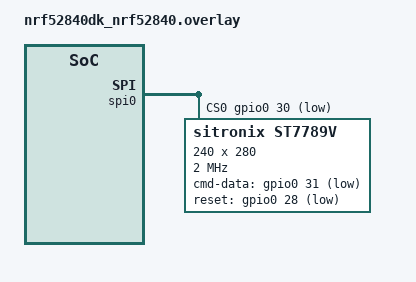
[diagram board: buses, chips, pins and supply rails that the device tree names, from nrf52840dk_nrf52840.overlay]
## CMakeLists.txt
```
# SPDX-License-Identifier: Apache-2.0

cmake_minimum_required(VERSION 3.20.0)

find_package(Zephyr REQUIRED HINTS $ENV{ZEPHYR_BASE})
project(lvgl_temp)

file(GLOB app_sources src/*.c src/ui/*.c src/ui/components/*.c src/ui/fonts/*.c src/ui/screens/*.c)
target_sources(app PRIVATE ${app_sources})
include_directories(src/ui)
```

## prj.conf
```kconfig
CONFIG_LV_Z_MEM_POOL_NUMBER_BLOCKS=8
# CONFIG_LV_Z_SHELL=y
CONFIG_MAIN_STACK_SIZE=2048

CONFIG_DISPLAY=y
CONFIG_DISPLAY_LOG_LEVEL_ERR=y

CONFIG_LOG=y
CONFIG_SHELL=y

CONFIG_LVGL=y
CONFIG_LV_MEM_CUSTOM=y
CONFIG_LV_USE_LOG=y
CONFIG_LV_USE_LABEL=y
CONFIG_LV_USE_BTN=y
CONFIG_LV_USE_IMG=y
CONFIG_LV_USE_MONKEY=y
CONFIG_LV_FONT_MONTSERRAT_14=y
```

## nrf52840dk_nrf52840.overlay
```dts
// To get started, press Ctrl+Space to bring up the completion menu and view the available nodes.

// You can also use the buttons in the sidebar to perform actions on nodes.
// Actions currently available include:

// * Enabling / disabling the node
// * Adding the bus to a bus
// * Removing the node
// * Connecting ADC channels

// For more help, browse the DeviceTree documentation at https://docs.zephyrproject.org/latest/guides/dts/index.html
// You can also visit the nRF DeviceTree extension documentation at https://nrfconnect.github.io/vscode-nrf-connect/devicetree/nrfdevicetree.html

&spi0 {
	st7789v@0 {
		compatible = "sitronix,st7789v";
		reg = <0x0>;
		cmd-data-gpios = <&gpio0 31 GPIO_ACTIVE_LOW>;
		// supply-gpios = <&gpio0 29 0>;
		label = "ST7789V";
		status = "okay";
		spi-max-frequency = <2000000>;
		width = <240>;
		height = <280>;
		x-offset = <0>;
		y-offset = <20>;
		vcom = <0x32>;
		gctrl = <0x35>;
		vrhs = <0x15>;
		mdac = <0x00>;
		gamma = <0x01>;
		colmod = <0x55>;
		lcm = <0x2c>;
		porch-param = [0c 0c 00 33 33];
		cmd2en-param = [5a 69 02 01];
		pwctrl1-param = [a4 a1];
		pvgam-param = [d0 08 0e 09 09 05 31 33 48 17 14 15 31 34];
		nvgam-param = [d0 08 0e 09 09 15 31 33 48 17 14 15 31 34];
		ram-param = [00 f8];
		rgb-param = [cd 08 14];
		vdvs = <0x20>;
		reset-gpios = <&gpio0 28 GPIO_ACTIVE_LOW>;

	};

	status = "okay";
	cs-gpios = <&gpio0 30 GPIO_ACTIVE_LOW>;
	// wake-gpios = <&gpio0 29 0>;
};

&spi1 {
	status = "disabled";
};

&spi3 {
	status = "disabled";
};

&spi3_default {
	group1 {
		psels = <NRF_PSEL(SPIM_SCK, 1, 15)>,
				<NRF_PSEL(SPIM_MISO, 1, 14)>,
				<NRF_PSEL(SPIM_MOSI, 0, 4)>;
	};
};

&spi0_default {
	group1 {
		psels = <NRF_PSEL(SPIM_SCK, 0, 3)>, <NRF_PSEL(SPIM_MOSI, 0, 4)>;
	};
};

/ {
	aliases {
		lcd = &{/soc/spi@40003000/st7789v@0/};
	};

	chosen {
		zephyr,display = &{/soc/spi@40003000/st7789v@0/};
	};
};

&qspi {
	status = "disabled";
};

&i2c0 {
	status = "disabled";
};

&adc {
	status = "disabled";
};

&pwm0 {
	status = "disabled";
};
```

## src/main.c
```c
/*
 * Copyright (c) 2012-2014 Wind River Systems, Inc.
 *
 * SPDX-License-Identifier: Apache-2.0
 */
#include <zephyr/device.h>
#include <zephyr/devicetree.h>
#include <zephyr/drivers/display.h>
#include <zephyr/drivers/gpio.h>
#include <lvgl.h>
#include <stdio.h>
#include <string.h>
#include <zephyr/kernel.h>
#include <hal/nrf_gpio.h>
#include <zephyr/kernel/thread.h>
#include "ui.h"

#define LCD_BLK_PIN NRF_GPIO_PIN_MAP(0, 29)   // Backlight pin

#define UI_THREAD_STACK_SIZE 40960
#define UI_THREAD_PRIORITY 2

const struct device *display_dev = DEVICE_DT_GET(DT_CHOSEN(zephyr_display));

extern void ui_thread(void *arg1, void *arg2, void *arg3);

K_THREAD_DEFINE(ui_thread_id, UI_THREAD_STACK_SIZE, 
				ui_thread, NULL, NULL, NULL,
				UI_THREAD_PRIORITY, 0, 0);

void ui_thread(void *arg1, void *arg2, void *arg3)
{
	nrf_gpio_cfg_output(LCD_BLK_PIN);
	nrf_gpio_pin_set(LCD_BLK_PIN);

	if (device_is_ready(display_dev)) {
		printf("Display device is ready\n");
	} else {
		printf("Display device is not ready\n");
	}

	ui_init();
	lv_task_handler();
	display_blanking_off(display_dev);

	lv_chart_refresh(ui_Chart1);

	lv_chart_series_t *series1 = lv_chart_add_series(ui_Chart1,
													 lv_palette_main(LV_PALETTE_RED),
													 LV_CHART_AXIS_PRIMARY_Y);
	lv_chart_set_update_mode(ui_Chart1, LV_CHART_UPDATE_MODE_SHIFT);
	uint8_t i = 0;

	lv_keyboard_set_mode(ui_Keyboard1, LV_KEYBOARD_MODE_NUMBER);

	while (1) {
		lv_chart_set_next_value(ui_Chart1, series1, i);
		i += 10;
		if(i > 100) i = 0;

		k_sleep(K_MSEC(10));
		lv_task_handler();
	}
}
		

int main(void)
{


	while(1)
	{
		// lv_chart_set_next(ui_Chart1, series1, 100);
		k_sleep(K_MSEC(1000));
	}

	return 0;
}
```
